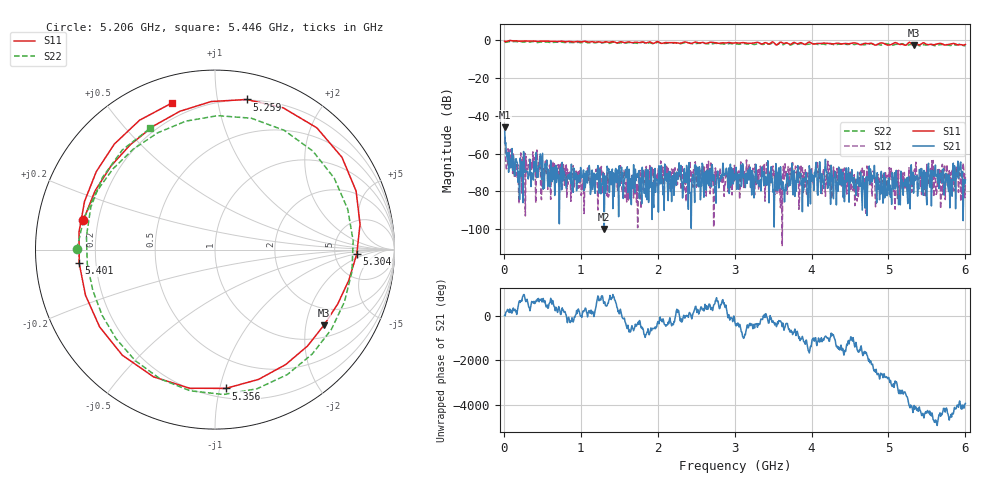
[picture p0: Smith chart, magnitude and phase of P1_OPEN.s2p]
!Keysight Technologies,N5245B,MY52501319,Z.13.01.242
!Date: Monday, February 16, 2026 14:40:45
!Correction: S11(Off)
!S21(Off)
!S12(Off)
!S22(Off)
!S2P File: Measurements: S11, S21, S12, S22:
# Hz S  RI  R 50
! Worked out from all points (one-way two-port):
!   801 points, 10 MHz to 6 GHz, reference 50 ohm
!   highest |S21| = -46.05 dB at 10 MHz (marker M1); lowest = -99.9 dB at 1.305 GHz (marker M2)
!   lowest |S11| = -2.6 dB at 5.326 GHz (marker M3), VSWR 6.66, Z = 68 - j127 ohm
!   |S11| at or under -10 dB: nowhere
!   |S22| runs from -2.9 to -0.6 dB; largest |S21 - S12| = 0.0069
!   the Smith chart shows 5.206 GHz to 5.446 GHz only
!   S11 on the Smith chart (normalised r, x): 5.206 GHz: 0.14, +0.11; 5.259 GHz: 0.20, +1.21; 5.304 GHz: 8.39, -1.09; 5.356 GHz: 0.27, -1.04; 5.401 GHz: 0.14, -0.05; 5.446 GHz: 0.13, +0.74
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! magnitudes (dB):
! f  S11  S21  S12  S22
! 10 MHz  -0.4  -46.0  -54.2  -0.9
! 69.9 MHz  -0.1  -59.3  -64.5  -0.7
! 219.7 MHz  -0.5  -65.1  -59.6  -0.8
! 1.013 GHz  -0.8  -72.6  -81.1  -1.3
! 1.305 GHz  -0.9  -99.9  -70.5  -1.1
! 2.009 GHz  -0.8  -91.0  -66.9  -1.1
! 2.938 GHz  -1.2  -76.7  -77.9  -1.7
! 3.005 GHz  -1.3  -73.9  -70.1  -1.8
! 4.008 GHz  -1.8  -70.9  -74.2  -2.0
! 4.675 GHz  -1.8  -78.5  -71.6  -2.3
! 4.795 GHz  -1.8  -71.6  -70.3  -2.0
! 5.004 GHz  -2.5  -72.8  -79.2  -2.1
! 5.206 GHz  -2.5  -76.7  -69.9  -2.3
! 5.259 GHz  -1.4  -72.3  -76.6  -2.5
! 5.304 GHz  -2.0  -72.6  -80.4  -2.3
! 5.326 GHz  -2.6  -80.9  -72.4  -2.1
! 5.356 GHz  -2.2  -72.8  -64.6  -1.8
! 5.401 GHz  -2.4  -68.4  -72.6  -2.9
! 5.446 GHz  -1.4  -69.9  -73.2  -2.3
! 5.798 GHz  -2.1  -88.7  -73.3  -2.8
! 5.91 GHz  -2.4  -73.1  -80.5  -2.2
! 6 GHz  -2.2  -73.9  -70.7  -2.8
